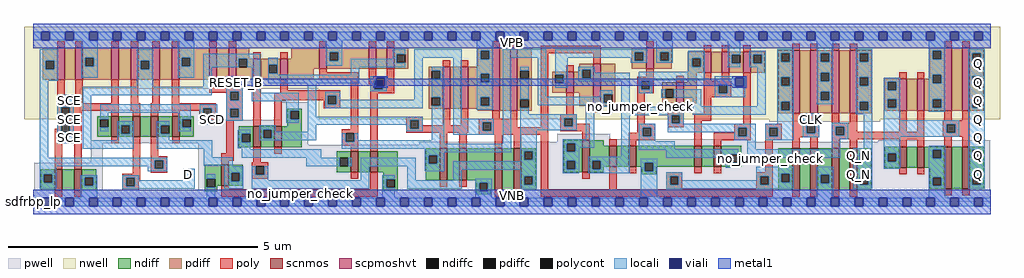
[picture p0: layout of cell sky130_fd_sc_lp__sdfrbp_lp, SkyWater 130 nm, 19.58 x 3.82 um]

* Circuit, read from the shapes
.subckt sky130_fd_sc_lp__sdfrbp_lp CLK D RESET_B SCD SCE VGND VNB VPB VPWR Q Q_N
XM1 n1 SCE n2 VNB sky130_fd_pr__nfet_01v8 w=0.42 l=0.15
XM2 VGND SCE n1 VNB sky130_fd_pr__nfet_01v8 w=0.42 l=0.15
XM3 n3 SCE n4 VNB sky130_fd_pr__nfet_01v8 w=0.42 l=0.15
XM4 n5 D n3 VNB sky130_fd_pr__nfet_01v8 w=0.42 l=0.15
XM5 n6 n2 n5 VNB sky130_fd_pr__nfet_01v8 w=0.42 l=0.15
XM6 n4 SCD n6 VNB sky130_fd_pr__nfet_01v8 w=0.42 l=0.15
XM7 n6 RESET_B VGND VNB sky130_fd_pr__nfet_01v8 w=0.42 l=0.15
XM8 n7 n8 n9 VNB sky130_fd_pr__nfet_01v8 w=0.42 l=0.15
XM9 n3 n10 n7 VNB sky130_fd_pr__nfet_01v8 w=0.42 l=0.15
XM10 n11 n12 n9 VNB sky130_fd_pr__nfet_01v8 w=0.42 l=0.15
XM11 VGND RESET_B n11 VNB sky130_fd_pr__nfet_01v8 w=0.42 l=0.15
XM12 n13 n7 n12 VNB sky130_fd_pr__nfet_01v8 w=0.64 l=0.15
XM13 VGND n7 n13 VNB sky130_fd_pr__nfet_01v8 w=0.64 l=0.15
XM14 n14 n10 VGND VNB sky130_fd_pr__nfet_01v8 w=0.84 l=0.15
XM15 n8 n10 n14 VNB sky130_fd_pr__nfet_01v8 w=0.84 l=0.15
XM16 n15 n8 n12 VNB sky130_fd_pr__nfet_01v8 w=0.64 l=0.15
XM17 n16 n10 n15 VNB sky130_fd_pr__nfet_01v8 w=0.42 l=0.15
XM18 VGND n17 n16 VNB sky130_fd_pr__nfet_01v8 w=0.42 l=0.15
XM19 n18 RESET_B VGND VNB sky130_fd_pr__nfet_01v8 w=0.42 l=0.15
XM20 n17 n15 n18 VNB sky130_fd_pr__nfet_01v8 w=0.42 l=0.15
XM21 n19 CLK n10 VNB sky130_fd_pr__nfet_01v8 w=0.84 l=0.15
XM22 VGND CLK n19 VNB sky130_fd_pr__nfet_01v8 w=0.84 l=0.15
XM23 n20 n15 VGND VNB sky130_fd_pr__nfet_01v8 w=0.84 l=0.15
XM24 Q_N n15 n20 VNB sky130_fd_pr__nfet_01v8 w=0.84 l=0.15
XM25 n21 n15 n22 VNB sky130_fd_pr__nfet_01v8 w=0.42 l=0.15
XM26 VGND n15 n21 VNB sky130_fd_pr__nfet_01v8 w=0.42 l=0.15
XM27 n23 n22 VGND VNB sky130_fd_pr__nfet_01v8 w=0.84 l=0.15
XM28 Q n22 n23 VNB sky130_fd_pr__nfet_01v8 w=0.84 l=0.15
XM29 n24 SCE n2 VPB sky130_fd_pr__pfet_01v8_hvt w=0.64 l=0.15
XM30 VPWR SCE n24 VPB sky130_fd_pr__pfet_01v8_hvt w=0.64 l=0.15
XM31 n25 SCE VPWR VPB sky130_fd_pr__pfet_01v8_hvt w=0.64 l=0.15
XM32 n3 D n25 VPB sky130_fd_pr__pfet_01v8_hvt w=0.64 l=0.15
XM33 n26 n2 n3 VPB sky130_fd_pr__pfet_01v8_hvt w=0.64 l=0.15
XM34 VPWR SCD n26 VPB sky130_fd_pr__pfet_01v8_hvt w=0.64 l=0.15
XM35 n27 RESET_B VPWR VPB sky130_fd_pr__pfet_01v8_hvt w=0.64 l=0.15
XM36 n3 RESET_B n27 VPB sky130_fd_pr__pfet_01v8_hvt w=0.64 l=0.15
XM37 n7 n8 n3 VPB sky130_fd_pr__pfet_01v8_hvt w=0.42 l=0.15
XM38 n28 n10 n7 VPB sky130_fd_pr__pfet_01v8_hvt w=0.42 l=0.15
XM39 VPWR n12 n28 VPB sky130_fd_pr__pfet_01v8_hvt w=0.42 l=0.15
XM40 n29 RESET_B VPWR VPB sky130_fd_pr__pfet_01v8_hvt w=0.42 l=0.15
XM41 n7 RESET_B n29 VPB sky130_fd_pr__pfet_01v8_hvt w=0.42 l=0.15
XM42 n30 n7 n12 VPB sky130_fd_pr__pfet_01v8_hvt w=0.84 l=0.15
XM43 VPWR n7 n30 VPB sky130_fd_pr__pfet_01v8_hvt w=0.84 l=0.15
XM44 n31 n10 VPWR VPB sky130_fd_pr__pfet_01v8_hvt w=1.26 l=0.15
XM45 n8 n10 n31 VPB sky130_fd_pr__pfet_01v8_hvt w=1.26 l=0.15
XM46 n15 n8 n32 VPB sky130_fd_pr__pfet_01v8_hvt w=0.42 l=0.15
XM47 n12 n10 n15 VPB sky130_fd_pr__pfet_01v8_hvt w=0.84 l=0.15
XM48 VPWR n17 n32 VPB sky130_fd_pr__pfet_01v8_hvt w=0.42 l=0.15
XM49 n17 n15 n33 VPB sky130_fd_pr__pfet_01v8_hvt w=0.42 l=0.15
XM50 n34 RESET_B n17 VPB sky130_fd_pr__pfet_01v8_hvt w=0.42 l=0.15
XM51 VPWR RESET_B n34 VPB sky130_fd_pr__pfet_01v8_hvt w=0.42 l=0.15
XM52 n33 n15 VPWR VPB sky130_fd_pr__pfet_01v8_hvt w=0.42 l=0.15
XM53 n35 CLK n10 VPB sky130_fd_pr__pfet_01v8_hvt w=1.26 l=0.15
XM54 VPWR CLK n35 VPB sky130_fd_pr__pfet_01v8_hvt w=1.26 l=0.15
XM55 n36 n15 VPWR VPB sky130_fd_pr__pfet_01v8_hvt w=1.26 l=0.15
XM56 Q_N n15 n36 VPB sky130_fd_pr__pfet_01v8_hvt w=1.26 l=0.15
XM57 n37 n15 n22 VPB sky130_fd_pr__pfet_01v8_hvt w=0.64 l=0.15
XM58 VPWR n15 n37 VPB sky130_fd_pr__pfet_01v8_hvt w=0.64 l=0.15
XM59 n38 n22 VPWR VPB sky130_fd_pr__pfet_01v8_hvt w=1.26 l=0.15
XM60 Q n22 n38 VPB sky130_fd_pr__pfet_01v8_hvt w=1.26 l=0.15
.ends

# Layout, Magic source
magic
tech sky130A
magscale 1 2
<< nwell >>
rect -38 455 3878 704
rect -38 331 187 455
rect 1145 331 3878 455
rect 2952 321 3398 331
<< pwell >>
rect 229 329 669 371
rect 993 329 1103 401
rect 229 235 1103 329
rect 2102 251 2314 273
rect 2102 241 2866 251
rect 3390 241 3839 247
rect 229 157 277 235
rect 3 49 277 157
rect 662 229 1103 235
rect 1548 229 3839 241
rect 662 49 3839 229
rect 0 0 3840 49
<< scnmos >>
rect 312 261 342 345
rect 398 261 428 345
rect 470 261 500 345
rect 556 261 586 345
rect 86 47 116 131
rect 164 47 194 131
rect 881 219 911 303
rect 967 219 997 303
rect 753 66 783 150
rect 1273 119 1303 203
rect 1351 119 1381 203
rect 1631 87 1661 215
rect 1709 87 1739 215
rect 1850 47 1880 215
rect 1928 47 1958 215
rect 2201 119 2231 247
rect 2310 141 2340 225
rect 2388 141 2418 225
rect 2652 141 2682 225
rect 2730 141 2760 225
rect 3045 47 3075 215
rect 3117 47 3147 215
rect 3203 47 3233 215
rect 3275 47 3305 215
rect 3473 137 3503 221
rect 3545 137 3575 221
rect 3654 53 3684 221
rect 3726 53 3756 221
<< scpmoshvt >>
rect 95 491 125 619
rect 167 491 197 619
rect 312 491 342 619
rect 390 491 420 619
rect 476 491 506 619
rect 554 491 584 619
rect 705 491 735 619
rect 783 491 813 619
rect 881 491 911 575
rect 990 491 1020 575
rect 1147 535 1177 619
rect 1345 535 1375 619
rect 1417 535 1447 619
rect 1643 375 1673 543
rect 1715 375 1745 543
rect 1840 367 1870 619
rect 1912 367 1942 619
rect 2138 439 2168 523
rect 2247 387 2277 555
rect 2458 535 2488 619
rect 2689 518 2719 602
rect 2761 518 2791 602
rect 2847 518 2877 602
rect 2580 397 2610 481
rect 3045 357 3075 609
rect 3117 357 3147 609
rect 3203 357 3233 609
rect 3275 357 3305 609
rect 3473 367 3503 495
rect 3545 367 3575 495
rect 3654 367 3684 619
rect 3726 367 3756 619
<< ndiff >>
rect 255 333 312 345
rect 255 299 267 333
rect 301 299 312 333
rect 255 261 312 299
rect 342 307 398 345
rect 342 273 353 307
rect 387 273 398 307
rect 342 261 398 273
rect 428 261 470 345
rect 500 307 556 345
rect 500 273 511 307
rect 545 273 556 307
rect 500 261 556 273
rect 586 333 643 345
rect 586 299 597 333
rect 631 299 643 333
rect 586 261 643 299
rect 29 111 86 131
rect 29 77 41 111
rect 75 77 86 111
rect 29 47 86 77
rect 116 47 164 131
rect 194 100 251 131
rect 1019 367 1077 375
rect 1019 333 1031 367
rect 1065 333 1077 367
rect 1019 303 1077 333
rect 824 273 881 303
rect 824 239 836 273
rect 870 239 881 273
rect 824 219 881 239
rect 911 289 967 303
rect 911 255 922 289
rect 956 255 967 289
rect 911 219 967 255
rect 997 219 1077 303
rect 1216 177 1273 203
rect 194 66 205 100
rect 239 66 251 100
rect 194 47 251 66
rect 688 93 753 150
rect 688 59 696 93
rect 730 66 753 93
rect 783 118 840 150
rect 783 84 794 118
rect 828 84 840 118
rect 1216 143 1228 177
rect 1262 143 1273 177
rect 1216 119 1273 143
rect 1303 119 1351 203
rect 1381 119 1461 203
rect 783 66 840 84
rect 730 59 738 66
rect 688 43 738 59
rect 1403 91 1461 119
rect 1403 57 1415 91
rect 1449 57 1461 91
rect 1574 188 1631 215
rect 1574 154 1586 188
rect 1620 154 1631 188
rect 1574 87 1631 154
rect 1661 87 1709 215
rect 1739 87 1850 215
rect 1777 77 1850 87
rect 1403 45 1461 57
rect 1777 43 1789 77
rect 1823 47 1850 77
rect 1880 47 1928 215
rect 1958 203 2015 215
rect 1958 169 1969 203
rect 2003 169 2015 203
rect 1958 103 2015 169
rect 1958 69 1969 103
rect 2003 69 2015 103
rect 1958 47 2015 69
rect 2128 235 2201 247
rect 2128 201 2140 235
rect 2174 201 2201 235
rect 2128 165 2201 201
rect 2128 131 2140 165
rect 2174 131 2201 165
rect 2128 119 2201 131
rect 2231 225 2288 247
rect 2231 165 2310 225
rect 2231 131 2242 165
rect 2276 141 2310 165
rect 2340 141 2388 225
rect 2418 158 2652 225
rect 2418 141 2452 158
rect 2276 131 2288 141
rect 2231 119 2288 131
rect 2440 124 2452 141
rect 2486 141 2652 158
rect 2682 141 2730 225
rect 2760 191 2840 225
rect 2760 157 2794 191
rect 2828 157 2840 191
rect 2760 141 2840 157
rect 2486 124 2498 141
rect 2440 112 2498 124
rect 1823 43 1835 47
rect 1777 31 1835 43
rect 2988 114 3045 215
rect 2988 80 3000 114
rect 3034 80 3045 114
rect 2988 47 3045 80
rect 3075 47 3117 215
rect 3147 109 3203 215
rect 3147 75 3158 109
rect 3192 75 3203 109
rect 3147 47 3203 75
rect 3233 47 3275 215
rect 3305 199 3362 215
rect 3305 165 3316 199
rect 3350 165 3362 199
rect 3305 103 3362 165
rect 3416 196 3473 221
rect 3416 162 3428 196
rect 3462 162 3473 196
rect 3416 137 3473 162
rect 3503 137 3545 221
rect 3575 209 3654 221
rect 3575 175 3609 209
rect 3643 175 3654 209
rect 3575 137 3654 175
rect 3305 69 3316 103
rect 3350 69 3362 103
rect 3305 47 3362 69
rect 3597 99 3654 137
rect 3597 65 3609 99
rect 3643 65 3654 99
rect 3597 53 3654 65
rect 3684 53 3726 221
rect 3756 209 3813 221
rect 3756 175 3767 209
rect 3801 175 3813 209
rect 3756 103 3813 175
rect 3756 69 3767 103
rect 3801 69 3813 103
rect 3756 53 3813 69
<< pdiff >>
rect 38 567 95 619
rect 38 533 50 567
rect 84 533 95 567
rect 38 491 95 533
rect 125 491 167 619
rect 197 578 312 619
rect 197 544 208 578
rect 242 544 312 578
rect 197 491 312 544
rect 342 491 390 619
rect 420 567 476 619
rect 420 533 431 567
rect 465 533 476 567
rect 420 491 476 533
rect 506 491 554 619
rect 584 578 705 619
rect 584 544 595 578
rect 629 544 705 578
rect 584 491 705 544
rect 735 491 783 619
rect 813 575 866 619
rect 1035 575 1147 619
rect 813 541 824 575
rect 858 541 881 575
rect 813 491 881 541
rect 911 550 990 575
rect 911 516 945 550
rect 979 516 990 550
rect 911 491 990 516
rect 1020 535 1147 575
rect 1177 601 1345 619
rect 1177 567 1188 601
rect 1222 567 1345 601
rect 1177 535 1345 567
rect 1375 535 1417 619
rect 1447 593 1504 619
rect 1447 559 1458 593
rect 1492 559 1504 593
rect 1783 607 1840 619
rect 1783 573 1795 607
rect 1829 573 1840 607
rect 1447 535 1504 559
rect 1783 543 1840 573
rect 1020 491 1125 535
rect 1586 527 1643 543
rect 1586 493 1598 527
rect 1632 493 1643 527
rect 1586 421 1643 493
rect 1586 387 1598 421
rect 1632 387 1643 421
rect 1586 375 1643 387
rect 1673 375 1715 543
rect 1745 514 1840 543
rect 1745 480 1795 514
rect 1829 480 1840 514
rect 1745 421 1840 480
rect 1745 387 1795 421
rect 1829 387 1840 421
rect 1745 375 1840 387
rect 1783 367 1840 375
rect 1870 367 1912 619
rect 1942 527 1999 619
rect 1942 493 1953 527
rect 1987 493 1999 527
rect 1942 413 1999 493
rect 1942 379 1953 413
rect 1987 379 1999 413
rect 1942 367 1999 379
rect 2401 600 2458 619
rect 2401 566 2413 600
rect 2447 566 2458 600
rect 2190 531 2247 555
rect 2190 523 2202 531
rect 2081 510 2138 523
rect 2081 476 2093 510
rect 2127 476 2138 510
rect 2081 439 2138 476
rect 2168 497 2202 523
rect 2236 497 2247 531
rect 2168 439 2247 497
rect 2190 387 2247 439
rect 2277 433 2334 555
rect 2401 535 2458 566
rect 2488 600 2561 619
rect 2488 566 2515 600
rect 2549 566 2561 600
rect 2488 535 2561 566
rect 2625 577 2689 602
rect 2625 543 2644 577
rect 2678 543 2689 577
rect 2625 518 2689 543
rect 2719 518 2761 602
rect 2791 590 2847 602
rect 2791 556 2802 590
rect 2836 556 2847 590
rect 2791 518 2847 556
rect 2877 590 2934 602
rect 2877 556 2888 590
rect 2922 556 2934 590
rect 2877 518 2934 556
rect 2988 597 3045 609
rect 2988 563 3000 597
rect 3034 563 3045 597
rect 2277 399 2288 433
rect 2322 399 2334 433
rect 2277 387 2334 399
rect 2625 481 2662 518
rect 2523 453 2580 481
rect 2523 419 2535 453
rect 2569 419 2580 453
rect 2523 397 2580 419
rect 2610 397 2662 481
rect 2988 500 3045 563
rect 2988 466 3000 500
rect 3034 466 3045 500
rect 2988 403 3045 466
rect 2988 369 3000 403
rect 3034 369 3045 403
rect 2988 357 3045 369
rect 3075 357 3117 609
rect 3147 597 3203 609
rect 3147 563 3158 597
rect 3192 563 3203 597
rect 3147 519 3203 563
rect 3147 485 3158 519
rect 3192 485 3203 519
rect 3147 442 3203 485
rect 3147 408 3158 442
rect 3192 408 3203 442
rect 3147 357 3203 408
rect 3233 357 3275 609
rect 3305 597 3362 609
rect 3305 563 3316 597
rect 3350 563 3362 597
rect 3305 500 3362 563
rect 3597 607 3654 619
rect 3597 573 3609 607
rect 3643 573 3654 607
rect 3305 466 3316 500
rect 3350 466 3362 500
rect 3597 510 3654 573
rect 3597 495 3609 510
rect 3305 403 3362 466
rect 3305 369 3316 403
rect 3350 369 3362 403
rect 3305 357 3362 369
rect 3416 483 3473 495
rect 3416 449 3428 483
rect 3462 449 3473 483
rect 3416 413 3473 449
rect 3416 379 3428 413
rect 3462 379 3473 413
rect 3416 367 3473 379
rect 3503 367 3545 495
rect 3575 476 3609 495
rect 3643 476 3654 510
rect 3575 413 3654 476
rect 3575 379 3609 413
rect 3643 379 3654 413
rect 3575 367 3654 379
rect 3684 367 3726 619
rect 3756 597 3813 619
rect 3756 563 3767 597
rect 3801 563 3813 597
rect 3756 505 3813 563
rect 3756 471 3767 505
rect 3801 471 3813 505
rect 3756 413 3813 471
rect 3756 379 3767 413
rect 3801 379 3813 413
rect 3756 367 3813 379
<< ndiffc >>
rect 267 299 301 333
rect 353 273 387 307
rect 511 273 545 307
rect 597 299 631 333
rect 41 77 75 111
rect 1031 333 1065 367
rect 836 239 870 273
rect 922 255 956 289
rect 205 66 239 100
rect 696 59 730 93
rect 794 84 828 118
rect 1228 143 1262 177
rect 1415 57 1449 91
rect 1586 154 1620 188
rect 1789 43 1823 77
rect 1969 169 2003 203
rect 1969 69 2003 103
rect 2140 201 2174 235
rect 2140 131 2174 165
rect 2242 131 2276 165
rect 2452 124 2486 158
rect 2794 157 2828 191
rect 3000 80 3034 114
rect 3158 75 3192 109
rect 3316 165 3350 199
rect 3428 162 3462 196
rect 3609 175 3643 209
rect 3316 69 3350 103
rect 3609 65 3643 99
rect 3767 175 3801 209
rect 3767 69 3801 103
<< pdiffc >>
rect 50 533 84 567
rect 208 544 242 578
rect 431 533 465 567
rect 595 544 629 578
rect 824 541 858 575
rect 945 516 979 550
rect 1188 567 1222 601
rect 1458 559 1492 593
rect 1795 573 1829 607
rect 1598 493 1632 527
rect 1598 387 1632 421
rect 1795 480 1829 514
rect 1795 387 1829 421
rect 1953 493 1987 527
rect 1953 379 1987 413
rect 2413 566 2447 600
rect 2093 476 2127 510
rect 2202 497 2236 531
rect 2515 566 2549 600
rect 2644 543 2678 577
rect 2802 556 2836 590
rect 2888 556 2922 590
rect 3000 563 3034 597
rect 2288 399 2322 433
rect 2535 419 2569 453
rect 3000 466 3034 500
rect 3000 369 3034 403
rect 3158 563 3192 597
rect 3158 485 3192 519
rect 3158 408 3192 442
rect 3316 563 3350 597
rect 3609 573 3643 607
rect 3316 466 3350 500
rect 3316 369 3350 403
rect 3428 449 3462 483
rect 3428 379 3462 413
rect 3609 476 3643 510
rect 3609 379 3643 413
rect 3767 563 3801 597
rect 3767 471 3801 505
rect 3767 379 3801 413
<< poly >>
rect 95 619 125 645
rect 167 619 197 645
rect 312 619 342 645
rect 390 619 420 645
rect 476 619 506 645
rect 554 619 584 645
rect 705 619 735 645
rect 783 619 813 645
rect 1147 619 1177 645
rect 1345 619 1375 645
rect 1417 619 1447 645
rect 1840 619 1870 645
rect 1912 619 1942 645
rect 881 575 911 601
rect 990 575 1020 601
rect 1643 543 1673 569
rect 1715 543 1745 569
rect 1147 520 1177 535
rect 95 397 125 491
rect 167 397 197 491
rect 312 397 342 491
rect 95 381 342 397
rect 95 347 111 381
rect 145 367 342 381
rect 390 397 420 491
rect 476 397 506 491
rect 390 367 428 397
rect 145 347 194 367
rect 95 313 194 347
rect 312 345 342 367
rect 398 345 428 367
rect 470 367 506 397
rect 554 397 584 491
rect 705 469 735 491
rect 783 469 813 491
rect 705 443 839 469
rect 705 439 789 443
rect 773 409 789 439
rect 823 409 839 443
rect 554 377 731 397
rect 554 367 681 377
rect 470 345 500 367
rect 556 345 586 367
rect 95 293 111 313
rect 86 279 111 293
rect 145 279 194 313
rect 86 263 194 279
rect 86 131 116 263
rect 164 131 194 263
rect 665 343 681 367
rect 715 343 731 377
rect 665 327 731 343
rect 773 375 839 409
rect 773 341 789 375
rect 823 341 839 375
rect 773 325 839 341
rect 312 235 342 261
rect 398 113 428 261
rect 470 183 500 261
rect 556 235 586 261
rect 773 195 803 325
rect 881 303 911 491
rect 990 448 1020 491
rect 1147 490 1303 520
rect 990 439 1231 448
rect 967 427 1231 439
rect 967 409 1181 427
rect 967 303 997 409
rect 1165 393 1181 409
rect 1215 393 1231 427
rect 1165 377 1231 393
rect 1273 291 1303 490
rect 1345 503 1375 535
rect 1417 503 1447 535
rect 1345 487 1447 503
rect 1345 473 1367 487
rect 1237 275 1303 291
rect 1237 241 1253 275
rect 1287 241 1303 275
rect 1237 225 1303 241
rect 470 167 536 183
rect 470 133 486 167
rect 520 133 536 167
rect 753 165 803 195
rect 753 150 783 165
rect 881 159 911 219
rect 967 193 997 219
rect 1273 203 1303 225
rect 1351 453 1367 473
rect 1401 453 1447 487
rect 1351 437 1447 453
rect 1351 203 1381 437
rect 1496 327 1562 343
rect 1496 293 1512 327
rect 1546 307 1562 327
rect 1643 307 1673 375
rect 1715 307 1745 375
rect 2036 597 2277 627
rect 2458 619 2488 645
rect 1840 335 1870 367
rect 1912 335 1942 367
rect 1546 293 1745 307
rect 1496 277 1745 293
rect 1787 319 1942 335
rect 1787 285 1803 319
rect 1837 299 1942 319
rect 2036 299 2066 597
rect 2247 555 2277 597
rect 2138 523 2168 549
rect 2138 353 2168 439
rect 2689 602 2719 628
rect 2761 602 2791 628
rect 2847 602 2877 628
rect 3045 609 3075 635
rect 3117 609 3147 635
rect 3203 609 3233 635
rect 3275 609 3305 635
rect 3654 619 3684 645
rect 3726 619 3756 645
rect 2458 503 2488 535
rect 2422 487 2488 503
rect 2422 453 2438 487
rect 2472 453 2488 487
rect 2580 481 2610 507
rect 2422 437 2488 453
rect 2247 361 2277 387
rect 1837 285 2066 299
rect 1631 215 1661 277
rect 1709 215 1739 277
rect 1787 269 2066 285
rect 2114 337 2180 353
rect 2114 303 2130 337
rect 2164 313 2180 337
rect 2422 313 2452 437
rect 2689 486 2719 518
rect 2761 486 2791 518
rect 2689 470 2799 486
rect 2689 436 2749 470
rect 2783 436 2799 470
rect 2689 420 2799 436
rect 2580 365 2610 397
rect 2544 349 2610 365
rect 2689 355 2719 420
rect 2544 315 2560 349
rect 2594 315 2610 349
rect 2164 303 2231 313
rect 2114 283 2231 303
rect 1850 215 1880 269
rect 1928 215 1958 269
rect 470 117 536 133
rect 356 97 428 113
rect 356 63 372 97
rect 406 83 428 97
rect 406 63 422 83
rect 356 47 422 63
rect 876 143 942 159
rect 876 109 892 143
rect 926 109 942 143
rect 876 93 942 109
rect 1273 93 1303 119
rect 86 21 116 47
rect 164 21 194 47
rect 753 51 783 66
rect 1351 51 1381 119
rect 753 21 1381 51
rect 1631 61 1661 87
rect 1709 61 1739 87
rect 2036 51 2066 269
rect 2201 247 2231 283
rect 2422 297 2494 313
rect 2544 299 2610 315
rect 2652 325 2719 355
rect 2422 277 2444 297
rect 2388 263 2444 277
rect 2478 263 2494 297
rect 2310 225 2340 251
rect 2388 247 2494 263
rect 2388 225 2418 247
rect 2652 225 2682 325
rect 2847 314 2877 518
rect 3473 495 3503 521
rect 3545 495 3575 521
rect 3045 325 3075 357
rect 3117 325 3147 357
rect 2811 298 2877 314
rect 2811 277 2827 298
rect 2730 264 2827 277
rect 2861 264 2877 298
rect 2730 247 2877 264
rect 2937 298 3003 314
rect 2937 264 2953 298
rect 2987 264 3003 298
rect 2937 248 3003 264
rect 3045 309 3152 325
rect 3045 275 3102 309
rect 3136 275 3152 309
rect 3045 259 3152 275
rect 3203 317 3233 357
rect 3275 317 3305 357
rect 3203 301 3305 317
rect 3203 267 3219 301
rect 3253 281 3305 301
rect 3473 281 3503 367
rect 3545 281 3575 367
rect 3654 327 3684 367
rect 3726 327 3756 367
rect 3253 267 3575 281
rect 2730 225 2760 247
rect 2201 93 2231 119
rect 2310 51 2340 141
rect 2388 115 2418 141
rect 2538 103 2604 119
rect 2652 115 2682 141
rect 2730 115 2760 141
rect 2937 119 2967 248
rect 3045 215 3075 259
rect 3117 215 3147 259
rect 3203 251 3575 267
rect 3649 311 3756 327
rect 3649 277 3665 311
rect 3699 277 3756 311
rect 3649 261 3756 277
rect 3203 215 3233 251
rect 3275 215 3305 251
rect 3473 221 3503 251
rect 3545 221 3575 251
rect 3654 221 3684 261
rect 3726 221 3756 261
rect 2538 69 2554 103
rect 2588 69 2604 103
rect 2538 51 2604 69
rect 2900 103 2967 119
rect 2900 69 2916 103
rect 2950 69 2967 103
rect 2900 51 2967 69
rect 1850 21 1880 47
rect 1928 21 1958 47
rect 2036 21 2967 51
rect 3473 111 3503 137
rect 3545 111 3575 137
rect 3045 21 3075 47
rect 3117 21 3147 47
rect 3203 21 3233 47
rect 3275 21 3305 47
rect 3654 27 3684 53
rect 3726 27 3756 53
<< polycont >>
rect 111 347 145 381
rect 789 409 823 443
rect 111 279 145 313
rect 681 343 715 377
rect 789 341 823 375
rect 1181 393 1215 427
rect 1253 241 1287 275
rect 486 133 520 167
rect 1367 453 1401 487
rect 1512 293 1546 327
rect 1803 285 1837 319
rect 2438 453 2472 487
rect 2130 303 2164 337
rect 2749 436 2783 470
rect 2560 315 2594 349
rect 372 63 406 97
rect 892 109 926 143
rect 2444 263 2478 297
rect 2827 264 2861 298
rect 2953 264 2987 298
rect 3102 275 3136 309
rect 3219 267 3253 301
rect 3665 277 3699 311
rect 2554 69 2588 103
rect 2916 69 2950 103
<< locali >>
rect 0 649 31 683
rect 65 649 127 683
rect 161 649 223 683
rect 257 649 319 683
rect 353 649 415 683
rect 449 649 511 683
rect 545 649 607 683
rect 641 649 703 683
rect 737 649 799 683
rect 833 649 895 683
rect 929 649 991 683
rect 1025 649 1087 683
rect 1121 649 1183 683
rect 1217 649 1279 683
rect 1313 649 1375 683
rect 1409 649 1471 683
rect 1505 649 1567 683
rect 1601 649 1663 683
rect 1697 649 1759 683
rect 1793 649 1855 683
rect 1889 649 1951 683
rect 1985 649 2047 683
rect 2081 649 2143 683
rect 2177 649 2239 683
rect 2273 649 2335 683
rect 2369 649 2431 683
rect 2465 649 2527 683
rect 2561 649 2623 683
rect 2657 649 2719 683
rect 2753 649 2815 683
rect 2849 649 2911 683
rect 2945 649 3007 683
rect 3041 649 3103 683
rect 3137 649 3199 683
rect 3233 649 3295 683
rect 3329 649 3391 683
rect 3425 649 3487 683
rect 3521 649 3583 683
rect 3617 649 3679 683
rect 3713 649 3775 683
rect 3809 649 3840 683
rect 25 567 100 613
rect 25 533 50 567
rect 84 533 100 567
rect 25 487 100 533
rect 192 578 258 649
rect 192 544 208 578
rect 242 544 258 578
rect 192 499 258 544
rect 415 567 481 613
rect 415 533 431 567
rect 465 533 481 567
rect 25 177 59 487
rect 415 463 481 533
rect 579 578 645 649
rect 1172 601 1238 649
rect 579 544 595 578
rect 629 544 645 578
rect 579 499 645 544
rect 681 575 909 595
rect 681 541 824 575
rect 858 541 909 575
rect 681 540 909 541
rect 681 463 715 540
rect 95 381 161 430
rect 95 347 111 381
rect 145 347 161 381
rect 95 313 161 347
rect 95 279 111 313
rect 145 279 161 313
rect 95 236 161 279
rect 197 429 715 463
rect 773 498 839 504
rect 773 464 799 498
rect 833 464 839 498
rect 773 443 839 464
rect 197 247 231 429
rect 773 409 789 443
rect 823 409 839 443
rect 267 359 631 393
rect 267 333 301 359
rect 581 333 631 359
rect 267 283 301 299
rect 337 307 403 323
rect 337 273 353 307
rect 387 273 403 307
rect 337 247 403 273
rect 197 213 403 247
rect 495 307 545 323
rect 495 273 511 307
rect 581 299 597 333
rect 667 377 737 393
rect 667 343 681 377
rect 715 343 737 377
rect 667 310 737 343
rect 773 375 839 409
rect 875 439 909 540
rect 943 550 981 579
rect 943 516 945 550
rect 979 516 981 550
rect 1172 567 1188 601
rect 1222 567 1238 601
rect 1442 593 1492 613
rect 1442 574 1458 593
rect 1172 547 1238 567
rect 1274 559 1458 574
rect 943 511 981 516
rect 1274 540 1492 559
rect 1528 579 1718 613
rect 1274 511 1308 540
rect 943 477 1308 511
rect 1351 498 1417 504
rect 1351 487 1375 498
rect 875 405 1065 439
rect 773 341 789 375
rect 823 341 839 375
rect 773 325 839 341
rect 1015 367 1065 405
rect 1015 333 1031 367
rect 1015 317 1065 333
rect 1101 343 1135 477
rect 1351 453 1367 487
rect 1409 464 1417 498
rect 1401 453 1417 464
rect 1351 445 1417 453
rect 1171 427 1231 443
rect 1171 393 1181 427
rect 1215 411 1231 427
rect 1528 411 1562 579
rect 1215 393 1562 411
rect 1171 377 1562 393
rect 1598 527 1648 543
rect 1632 493 1648 527
rect 1598 421 1648 493
rect 1632 387 1648 421
rect 1101 327 1562 343
rect 1101 309 1512 327
rect 581 283 631 299
rect 906 289 972 307
rect 495 247 545 273
rect 820 273 870 289
rect 495 213 717 247
rect 820 239 836 273
rect 906 255 922 289
rect 956 281 972 289
rect 1101 281 1135 309
rect 1496 293 1512 309
rect 1546 293 1562 327
rect 1496 283 1562 293
rect 956 255 1135 281
rect 906 247 1135 255
rect 820 215 870 239
rect 683 179 717 213
rect 836 211 870 215
rect 1237 241 1253 275
rect 1287 247 1303 275
rect 1598 247 1648 387
rect 1684 335 1718 579
rect 1779 607 1845 649
rect 1779 573 1795 607
rect 1829 573 1845 607
rect 1779 514 1845 573
rect 1779 480 1795 514
rect 1829 480 1845 514
rect 1779 421 1845 480
rect 1779 387 1795 421
rect 1829 387 1845 421
rect 1779 371 1845 387
rect 1883 579 2057 613
rect 1684 319 1847 335
rect 1684 285 1803 319
rect 1837 285 1847 319
rect 1684 269 1847 285
rect 1287 241 1648 247
rect 1237 233 1648 241
rect 1883 233 1917 579
rect 1237 213 1917 233
rect 25 167 536 177
rect 25 143 486 167
rect 25 111 91 143
rect 459 133 486 143
rect 520 133 536 167
rect 683 145 800 179
rect 836 177 1154 211
rect 1570 199 1917 213
rect 1953 527 1987 543
rect 1953 413 1987 493
rect 2023 423 2057 579
rect 2093 600 2463 613
rect 2093 579 2413 600
rect 2093 510 2143 579
rect 2397 566 2413 579
rect 2447 566 2463 600
rect 2397 559 2463 566
rect 2499 600 2565 649
rect 2499 566 2515 600
rect 2549 566 2565 600
rect 2499 559 2565 566
rect 2628 577 2694 606
rect 2628 543 2644 577
rect 2678 543 2694 577
rect 2127 476 2143 510
rect 2186 531 2252 543
rect 2186 497 2202 531
rect 2236 519 2252 531
rect 2628 523 2694 543
rect 2786 590 2836 649
rect 2786 556 2802 590
rect 2786 540 2836 556
rect 2872 590 2938 606
rect 2872 556 2888 590
rect 2922 556 2938 590
rect 2872 540 2938 556
rect 2236 497 2392 519
rect 2186 485 2392 497
rect 2093 459 2143 476
rect 2272 433 2322 449
rect 2272 423 2288 433
rect 2023 399 2288 423
rect 2023 389 2322 399
rect 1953 353 1987 379
rect 2216 383 2322 389
rect 2358 383 2392 485
rect 2428 489 2694 523
rect 2733 498 2855 504
rect 2428 487 2483 489
rect 2428 453 2438 487
rect 2472 453 2483 487
rect 2733 470 2815 498
rect 2428 437 2483 453
rect 2519 419 2535 453
rect 2569 419 2680 453
rect 2733 436 2749 470
rect 2783 464 2815 470
rect 2849 464 2855 498
rect 2783 436 2855 464
rect 2733 420 2855 436
rect 2646 384 2680 419
rect 2904 384 2938 540
rect 1953 337 2180 353
rect 1953 303 2130 337
rect 2164 303 2180 337
rect 1953 287 2180 303
rect 1953 203 2019 287
rect 2216 251 2250 383
rect 1570 188 1648 199
rect 766 143 800 145
rect 1094 143 1228 177
rect 1262 143 1278 177
rect 1314 143 1534 177
rect 459 123 536 133
rect 25 77 41 111
rect 75 77 91 111
rect 25 53 91 77
rect 189 100 255 107
rect 189 66 205 100
rect 239 66 255 100
rect 189 17 255 66
rect 356 97 422 107
rect 356 63 372 97
rect 406 87 422 97
rect 601 87 647 134
rect 766 118 842 143
rect 406 63 647 87
rect 356 53 647 63
rect 696 93 730 111
rect 696 17 730 59
rect 766 84 794 118
rect 828 84 842 118
rect 766 53 842 84
rect 876 109 892 143
rect 926 109 942 143
rect 876 87 942 109
rect 1314 87 1348 143
rect 876 53 1348 87
rect 1399 91 1449 107
rect 1399 57 1415 91
rect 1399 17 1449 57
rect 1500 87 1534 143
rect 1570 154 1586 188
rect 1620 154 1648 188
rect 1953 169 1969 203
rect 2003 169 2019 203
rect 1953 163 2019 169
rect 1570 123 1648 154
rect 1684 129 2019 163
rect 1684 87 1718 129
rect 1953 103 2019 129
rect 2124 235 2250 251
rect 2124 201 2140 235
rect 2174 217 2250 235
rect 2358 349 2610 383
rect 2646 350 2938 384
rect 2984 597 3050 613
rect 2984 563 3000 597
rect 3034 563 3050 597
rect 2984 500 3050 563
rect 2984 466 3000 500
rect 3034 466 3050 500
rect 2984 403 3050 466
rect 2984 369 3000 403
rect 3034 369 3050 403
rect 3142 597 3208 649
rect 3142 563 3158 597
rect 3192 563 3208 597
rect 3142 519 3208 563
rect 3142 485 3158 519
rect 3192 485 3208 519
rect 3142 442 3208 485
rect 3142 408 3158 442
rect 3192 408 3208 442
rect 3142 392 3208 408
rect 3300 597 3366 613
rect 3300 563 3316 597
rect 3350 563 3366 597
rect 3300 500 3366 563
rect 3300 466 3316 500
rect 3350 466 3366 500
rect 3593 607 3659 649
rect 3593 573 3609 607
rect 3643 573 3659 607
rect 3593 510 3659 573
rect 3300 403 3366 466
rect 2174 201 2190 217
rect 2124 165 2190 201
rect 2358 181 2392 349
rect 2544 315 2560 349
rect 2594 315 2610 349
rect 2544 314 2610 315
rect 2984 314 3050 369
rect 3300 369 3316 403
rect 3350 369 3366 403
rect 2428 297 2494 313
rect 2428 263 2444 297
rect 2478 263 2494 297
rect 2544 298 2898 314
rect 2544 280 2827 298
rect 2428 244 2494 263
rect 2811 264 2827 280
rect 2861 264 2898 298
rect 2811 248 2898 264
rect 2937 298 3050 314
rect 2937 264 2953 298
rect 2987 264 3050 298
rect 2937 248 3050 264
rect 3086 309 3152 356
rect 3300 353 3366 369
rect 3086 275 3102 309
rect 3136 275 3152 309
rect 3086 259 3152 275
rect 3203 301 3269 317
rect 3203 267 3219 301
rect 3253 267 3269 301
rect 3203 251 3269 267
rect 2428 212 2572 244
rect 2864 212 2898 248
rect 3203 212 3237 251
rect 3332 215 3366 353
rect 2428 210 2828 212
rect 2124 131 2140 165
rect 2174 131 2190 165
rect 2124 115 2190 131
rect 2226 165 2392 181
rect 2538 191 2828 210
rect 2538 178 2794 191
rect 2226 131 2242 165
rect 2276 131 2392 165
rect 2226 115 2392 131
rect 2436 158 2502 174
rect 2436 124 2452 158
rect 2486 124 2502 158
rect 2778 157 2794 178
rect 2864 178 3237 212
rect 3289 199 3366 215
rect 2778 137 2828 157
rect 3289 165 3316 199
rect 3350 165 3366 199
rect 1500 53 1718 87
rect 1773 77 1839 93
rect 1773 43 1789 77
rect 1823 43 1839 77
rect 1953 69 1969 103
rect 2003 69 2019 103
rect 1953 53 2019 69
rect 1773 17 1839 43
rect 2436 17 2502 124
rect 2538 103 2604 119
rect 2538 69 2554 103
rect 2588 87 2604 103
rect 2900 114 3050 142
rect 2900 103 3000 114
rect 2900 87 2916 103
rect 2588 69 2916 87
rect 2950 80 3000 103
rect 3034 80 3050 114
rect 2950 69 3050 80
rect 2538 53 3050 69
rect 3142 109 3208 142
rect 3142 75 3158 109
rect 3192 75 3208 109
rect 3142 17 3208 75
rect 3289 103 3366 165
rect 3412 483 3478 499
rect 3412 449 3428 483
rect 3462 449 3478 483
rect 3412 413 3478 449
rect 3412 379 3428 413
rect 3462 379 3478 413
rect 3412 327 3478 379
rect 3593 476 3609 510
rect 3643 476 3659 510
rect 3593 413 3659 476
rect 3593 379 3609 413
rect 3643 379 3659 413
rect 3593 363 3659 379
rect 3751 597 3817 613
rect 3751 563 3767 597
rect 3801 563 3817 597
rect 3751 505 3817 563
rect 3751 471 3767 505
rect 3801 471 3817 505
rect 3751 413 3817 471
rect 3751 379 3767 413
rect 3801 379 3817 413
rect 3412 311 3715 327
rect 3412 277 3665 311
rect 3699 277 3715 311
rect 3412 261 3715 277
rect 3412 196 3478 261
rect 3412 162 3428 196
rect 3462 162 3478 196
rect 3412 133 3478 162
rect 3593 209 3659 225
rect 3593 175 3609 209
rect 3643 175 3659 209
rect 3289 69 3316 103
rect 3350 69 3366 103
rect 3289 53 3366 69
rect 3593 99 3659 175
rect 3593 65 3609 99
rect 3643 65 3659 99
rect 3593 17 3659 65
rect 3751 209 3817 379
rect 3751 175 3767 209
rect 3801 175 3817 209
rect 3751 103 3817 175
rect 3751 69 3767 103
rect 3801 69 3817 103
rect 3751 53 3817 69
rect 0 -17 31 17
rect 65 -17 127 17
rect 161 -17 223 17
rect 257 -17 319 17
rect 353 -17 415 17
rect 449 -17 511 17
rect 545 -17 607 17
rect 641 -17 703 17
rect 737 -17 799 17
rect 833 -17 895 17
rect 929 -17 991 17
rect 1025 -17 1087 17
rect 1121 -17 1183 17
rect 1217 -17 1279 17
rect 1313 -17 1375 17
rect 1409 -17 1471 17
rect 1505 -17 1567 17
rect 1601 -17 1663 17
rect 1697 -17 1759 17
rect 1793 -17 1855 17
rect 1889 -17 1951 17
rect 1985 -17 2047 17
rect 2081 -17 2143 17
rect 2177 -17 2239 17
rect 2273 -17 2335 17
rect 2369 -17 2431 17
rect 2465 -17 2527 17
rect 2561 -17 2623 17
rect 2657 -17 2719 17
rect 2753 -17 2815 17
rect 2849 -17 2911 17
rect 2945 -17 3007 17
rect 3041 -17 3103 17
rect 3137 -17 3199 17
rect 3233 -17 3295 17
rect 3329 -17 3391 17
rect 3425 -17 3487 17
rect 3521 -17 3583 17
rect 3617 -17 3679 17
rect 3713 -17 3775 17
rect 3809 -17 3840 17
<< viali >>
rect 31 649 65 683
rect 127 649 161 683
rect 223 649 257 683
rect 319 649 353 683
rect 415 649 449 683
rect 511 649 545 683
rect 607 649 641 683
rect 703 649 737 683
rect 799 649 833 683
rect 895 649 929 683
rect 991 649 1025 683
rect 1087 649 1121 683
rect 1183 649 1217 683
rect 1279 649 1313 683
rect 1375 649 1409 683
rect 1471 649 1505 683
rect 1567 649 1601 683
rect 1663 649 1697 683
rect 1759 649 1793 683
rect 1855 649 1889 683
rect 1951 649 1985 683
rect 2047 649 2081 683
rect 2143 649 2177 683
rect 2239 649 2273 683
rect 2335 649 2369 683
rect 2431 649 2465 683
rect 2527 649 2561 683
rect 2623 649 2657 683
rect 2719 649 2753 683
rect 2815 649 2849 683
rect 2911 649 2945 683
rect 3007 649 3041 683
rect 3103 649 3137 683
rect 3199 649 3233 683
rect 3295 649 3329 683
rect 3391 649 3425 683
rect 3487 649 3521 683
rect 3583 649 3617 683
rect 3679 649 3713 683
rect 3775 649 3809 683
rect 799 464 833 498
rect 1375 487 1409 498
rect 1375 464 1401 487
rect 1401 464 1409 487
rect 2815 464 2849 498
rect 31 -17 65 17
rect 127 -17 161 17
rect 223 -17 257 17
rect 319 -17 353 17
rect 415 -17 449 17
rect 511 -17 545 17
rect 607 -17 641 17
rect 703 -17 737 17
rect 799 -17 833 17
rect 895 -17 929 17
rect 991 -17 1025 17
rect 1087 -17 1121 17
rect 1183 -17 1217 17
rect 1279 -17 1313 17
rect 1375 -17 1409 17
rect 1471 -17 1505 17
rect 1567 -17 1601 17
rect 1663 -17 1697 17
rect 1759 -17 1793 17
rect 1855 -17 1889 17
rect 1951 -17 1985 17
rect 2047 -17 2081 17
rect 2143 -17 2177 17
rect 2239 -17 2273 17
rect 2335 -17 2369 17
rect 2431 -17 2465 17
rect 2527 -17 2561 17
rect 2623 -17 2657 17
rect 2719 -17 2753 17
rect 2815 -17 2849 17
rect 2911 -17 2945 17
rect 3007 -17 3041 17
rect 3103 -17 3137 17
rect 3199 -17 3233 17
rect 3295 -17 3329 17
rect 3391 -17 3425 17
rect 3487 -17 3521 17
rect 3583 -17 3617 17
rect 3679 -17 3713 17
rect 3775 -17 3809 17
<< metal1 >>
rect 0 683 3840 715
rect 0 649 31 683
rect 65 649 127 683
rect 161 649 223 683
rect 257 649 319 683
rect 353 649 415 683
rect 449 649 511 683
rect 545 649 607 683
rect 641 649 703 683
rect 737 649 799 683
rect 833 649 895 683
rect 929 649 991 683
rect 1025 649 1087 683
rect 1121 649 1183 683
rect 1217 649 1279 683
rect 1313 649 1375 683
rect 1409 649 1471 683
rect 1505 649 1567 683
rect 1601 649 1663 683
rect 1697 649 1759 683
rect 1793 649 1855 683
rect 1889 649 1951 683
rect 1985 649 2047 683
rect 2081 649 2143 683
rect 2177 649 2239 683
rect 2273 649 2335 683
rect 2369 649 2431 683
rect 2465 649 2527 683
rect 2561 649 2623 683
rect 2657 649 2719 683
rect 2753 649 2815 683
rect 2849 649 2911 683
rect 2945 649 3007 683
rect 3041 649 3103 683
rect 3137 649 3199 683
rect 3233 649 3295 683
rect 3329 649 3391 683
rect 3425 649 3487 683
rect 3521 649 3583 683
rect 3617 649 3679 683
rect 3713 649 3775 683
rect 3809 649 3840 683
rect 0 617 3840 649
rect 787 498 845 504
rect 787 464 799 498
rect 833 495 845 498
rect 1363 498 1421 504
rect 1363 495 1375 498
rect 833 467 1375 495
rect 833 464 845 467
rect 787 458 845 464
rect 1363 464 1375 467
rect 1409 495 1421 498
rect 2803 498 2861 504
rect 2803 495 2815 498
rect 1409 467 2815 495
rect 1409 464 1421 467
rect 1363 458 1421 464
rect 2803 464 2815 467
rect 2849 464 2861 498
rect 2803 458 2861 464
rect 0 17 3840 49
rect 0 -17 31 17
rect 65 -17 127 17
rect 161 -17 223 17
rect 257 -17 319 17
rect 353 -17 415 17
rect 449 -17 511 17
rect 545 -17 607 17
rect 641 -17 703 17
rect 737 -17 799 17
rect 833 -17 895 17
rect 929 -17 991 17
rect 1025 -17 1087 17
rect 1121 -17 1183 17
rect 1217 -17 1279 17
rect 1313 -17 1375 17
rect 1409 -17 1471 17
rect 1505 -17 1567 17
rect 1601 -17 1663 17
rect 1697 -17 1759 17
rect 1793 -17 1855 17
rect 1889 -17 1951 17
rect 1985 -17 2047 17
rect 2081 -17 2143 17
rect 2177 -17 2239 17
rect 2273 -17 2335 17
rect 2369 -17 2431 17
rect 2465 -17 2527 17
rect 2561 -17 2623 17
rect 2657 -17 2719 17
rect 2753 -17 2815 17
rect 2849 -17 2911 17
rect 2945 -17 3007 17
rect 3041 -17 3103 17
rect 3137 -17 3199 17
rect 3233 -17 3295 17
rect 3329 -17 3391 17
rect 3425 -17 3487 17
rect 3521 -17 3583 17
rect 3617 -17 3679 17
rect 3713 -17 3775 17
rect 3809 -17 3840 17
rect 0 -49 3840 -17
<< labels >>
flabel pwell s 0 0 3840 49 0 FreeSans 200 0 0 0 VNB
port 7 nsew ground bidirectional
flabel nwell s 0 617 3840 666 0 FreeSans 200 0 0 0 VPB
port 8 nsew power bidirectional
flabel comment s 1073 36 1073 36 0 FreeSans 300 0 0 0 no_jumper_check
rlabel comment s 0 0 0 0 4 sdfrbp_lp
flabel comment s 2957 175 2957 175 0 FreeSans 200 90 0 0 no_jumper_check
flabel comment s 2434 385 2434 385 0 FreeSans 200 90 0 0 no_jumper_check
flabel metal1 s 799 464 833 498 0 FreeSans 340 0 0 0 RESET_B
port 3 nsew signal input
flabel metal1 s 0 617 3840 666 0 FreeSans 340 0 0 0 VPWR
port 9 nsew power bidirectional
flabel metal1 s 0 0 3840 49 0 FreeSans 340 0 0 0 VGND
port 6 nsew ground bidirectional
flabel locali s 3775 94 3809 128 0 FreeSans 340 0 0 0 Q
port 10 nsew signal output
flabel locali s 3775 168 3809 202 0 FreeSans 340 0 0 0 Q
port 10 nsew signal output
flabel locali s 3775 242 3809 276 0 FreeSans 340 0 0 0 Q
port 10 nsew signal output
flabel locali s 3775 316 3809 350 0 FreeSans 340 0 0 0 Q
port 10 nsew signal output
flabel locali s 3775 390 3809 424 0 FreeSans 340 0 0 0 Q
port 10 nsew signal output
flabel locali s 3775 464 3809 498 0 FreeSans 340 0 0 0 Q
port 10 nsew signal output
flabel locali s 3775 538 3809 572 0 FreeSans 340 0 0 0 Q
port 10 nsew signal output
flabel locali s 127 242 161 276 0 FreeSans 340 0 0 0 SCE
port 5 nsew signal input
flabel locali s 127 316 161 350 0 FreeSans 340 0 0 0 SCE
port 5 nsew signal input
flabel locali s 127 390 161 424 0 FreeSans 340 0 0 0 SCE
port 5 nsew signal input
flabel locali s 3295 94 3329 128 0 FreeSans 340 0 0 0 Q_N
port 11 nsew signal output
flabel locali s 3295 168 3329 202 0 FreeSans 340 0 0 0 Q_N
port 11 nsew signal output
flabel locali s 703 316 737 350 0 FreeSans 340 0 0 0 SCD
port 4 nsew signal input
flabel locali s 3103 316 3137 350 0 FreeSans 340 0 0 0 CLK
port 1 nsew clock input
flabel locali s 607 94 641 128 0 FreeSans 340 0 0 0 D
port 2 nsew signal input
<< properties >>
string LEFsite unit
string LEFclass CORE
string FIXED_BBOX 0 0 3840 666
string GDS_FILE $PDKPATH/libs.ref/sky130_fd_sc_lp/gds/sky130_fd_sc_lp.gds
string LEFsymmetry R90
string GDS_END 6481620
string GDS_START 6455860
<< end >>
